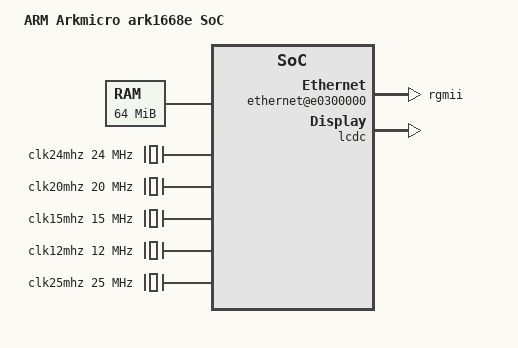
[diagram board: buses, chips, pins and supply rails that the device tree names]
// SPDX-License-Identifier: GPL-2.0
/dts-v1/;
/include/ "skeleton.dtsi"

#include <dt-bindings/interrupt-controller/arm-gic.h>
#include <dt-bindings/gpio/gpio.h>

/ {
	model = "ARM Arkmicro ark1668e SoC";
	compatible = "arkmicro,ark1668e";

	interrupt-parent = <&gic>;

	chosen {
		bootargs = "console=ttyS0,115200 earlyprintk loglevel=8 clk_ignore_unused";
		stdout-path = "serial0:115200n8";
	};

	cpus {
		#address-cells = <1>;
		#size-cells = <0>;
		enable-method = "arkmicro,arke-smp";

		cpu0: cpu@0 {
			compatible = "arm,cortex-a7";
			device_type = "cpu";
			reg = <0>;
			clock-frequency = <24000000>;
		};

        cpu1: cpu@1 {
            compatible = "arm,cortex-a7";
            device_type = "cpu";
            reg = <1>;
            clock-frequency = <24000000>;
        };
	};

	memory {
		reg = <0x40000000 0x4000000>;
	};


	timer {
		compatible = "arm,armv7-timer";
		arm,cpu-registers-not-fw-configured;
		interrupts = <GIC_PPI 13 (GIC_CPU_MASK_SIMPLE(4) | IRQ_TYPE_LEVEL_HIGH)>,
			     <GIC_PPI 14 (GIC_CPU_MASK_SIMPLE(4) | IRQ_TYPE_LEVEL_HIGH)>,
			     <GIC_PPI 11 (GIC_CPU_MASK_SIMPLE(4) | IRQ_TYPE_LEVEL_HIGH)>,
			     <GIC_PPI 10 (GIC_CPU_MASK_SIMPLE(4) | IRQ_TYPE_LEVEL_HIGH)>;
		clock-frequency = <12000000>;
	};

    clocks {
        //#address-cells = <1>;
        //#size-cells = <0>;

        /* cpu axi ahb apb */
        clk24mhz: clk24mhz@24M {
            #clock-cells = <0>;
            compatible = "fixed-clock";
            clock-frequency = <24000000>;
        };

        /* ddr */
        clk20mhz: clk20mhz@20M {
            #clock-cells = <0>;
            compatible = "fixed-clock";
            clock-frequency = <20000000>;
        };

        /* lcd */
        clk15mhz: clk15mhz@15M {
            #clock-cells = <0>;
            compatible = "fixed-clock";
            clock-frequency = <15000000>;
        };

        /* peripheral */
        clk12mhz: clk12mhz@12M {
            #clock-cells = <0>;
            compatible = "fixed-clock";
            clock-frequency = <12000000>;
        };

        clk25mhz: clk25mhz@25M {
            #clock-cells = <0>;
            compatible = "fixed-clock";
            clock-frequency = <25000000>;
        };
    };

	soc {
		compatible = "simple-bus";
		#address-cells = <1>;
		#size-cells = <1>;
		ranges;
		u-boot,dm-pre-reloc;

		gic: interrupt-controller@e0b01000 {
			compatible = "arm,cortex-a7-gic";
			interrupt-controller;
			#interrupt-cells = <3>;
			reg = <0xe0b01000 0x1000>,
			      <0xe0b02000 0x2000>,
			      <0xe0b04000 0x2000>,
			      <0xe0b06000 0x2000>;
		};

		gpio0: gpio@e4600000 {
			#address-cells = <1>;
			#size-cells = <0>;
			compatible = "snps,dw-apb-gpio";
			reg = <0xe4600000 0x80>;

			gporta: gpio-controller@0 {
				compatible = "snps,dw-apb-gpio-port";
				gpio-controller;
				#gpio-cells = <2>;
				snps,nr-gpios = <32>;
				reg = <0>;
				base = <0>;
			};
		};

		gpio1: gpio@e4600080 {
			#address-cells = <1>;
			#size-cells = <0>;
			compatible = "snps,dw-apb-gpio";
			reg = <0xe4600080 0x80>;

			gportb: gpio-controller@0 {
				compatible = "snps,dw-apb-gpio-port";
				gpio-controller;
				#gpio-cells = <2>;
				snps,nr-gpios = <32>;
				reg = <0>;
				base = <32>;
			};
		};

		gpio2: gpio@e4600100 {
			#address-cells = <1>;
			#size-cells = <0>;
			compatible = "snps,dw-apb-gpio";
			reg = <0xe4600100 0x80>;

			gportc: gpio-controller@0 {
				compatible = "snps,dw-apb-gpio-port";
				gpio-controller;
				#gpio-cells = <2>;
				snps,nr-gpios = <32>;
				reg = <0>;
				base = <64>;
			};
		};

		gpio3: gpio@e4600180 {
			#address-cells = <1>;
			#size-cells = <0>;
			compatible = "snps,dw-apb-gpio";
			reg = <0xe4600180 0x80>;

			gportd: gpio-controller@0 {
				compatible = "snps,dw-apb-gpio-port";
				gpio-controller;
				#gpio-cells = <2>;
				snps,nr-gpios = <32>;
				reg = <0>;
				base = <96>;
			};
		};

		gpio4: gpio@e4600200 {
			#address-cells = <1>;
			#size-cells = <0>;
			compatible = "snps,dw-apb-gpio";
			reg = <0xe4600200 0x80>;

			gporte: gpio-controller@0 {
				compatible = "snps,dw-apb-gpio-port";
				gpio-controller;
				#gpio-cells = <2>;
				snps,nr-gpios = <32>;
				reg = <0>;
				base = <128>;
			};
		};

		gpio5: gpio@e4600280 {
			#address-cells = <1>;
			#size-cells = <0>;
			compatible = "snps,dw-apb-gpio";
			reg = <0xe4600280 0x80>;

			gportf: gpio-controller@0 {
				compatible = "snps,dw-apb-gpio-port";
				gpio-controller;
				#gpio-cells = <2>;
				snps,nr-gpios = <32>;
				reg = <0>;
				base = <160>;
			};
		};

		ethernet@e0300000 {
			compatible = "arkmicro,ark1668e-eqos", "snps,dwc-qos-ethernet-4.10";
			reg = <0xe0300000 0x10000>;
			clocks = <&clk25mhz>,
				<&clk25mhz>,
				<&clk25mhz>,
				<&clk25mhz>,
				<&clk25mhz>;
			clock-names = "slave_bus",
				"master_bus",
				"rx",
				"ptp_ref",
				"tx";
			//phy-reset-gpios = <&gportd 15 GPIO_ACTIVE_LOW>;
			phy-mode = "rgmii";
		};

		lcdc: lcd@e0500000 {
			compatible = "arkmicro,ark1668e-lcdc";
			reg = <0xe0500000 0x1000
					0x4e200000 0x100000>;
			interface-type = "DLVDS";
			lvds-con = <0x4545>;
			lvds-con2 = <0xfa200141>;
			bits-per-pixel = <32>;
			power-control-gpio = <&gportd 0 GPIO_ACTIVE_HIGH>;
			lcd-wiring-mode = "RGB";
			backlight-pwm = <0>;
			backlight-value = <30>;
			backlight-delay = <200>;
			//u-boot,dm-pre-reloc;

			display-timings {
				native-mode = <&timing0>;
				timing0: timing0 {
					clock-frequency = <120000000>;
					hactive = <1920>;
					vactive = <720>;
					hback-porch = <300>;
					hfront-porch = <240>;
					vback-porch = <80>;
					vfront-porch = <80>;
					hsync-len = <36>;
					vsync-len = <18>;
					hsync-active = <1>;
					vsync-active = <1>;
					de-active = <0>;
					pixelclk-active = <0>;
				};
			};
		};
	};
};
